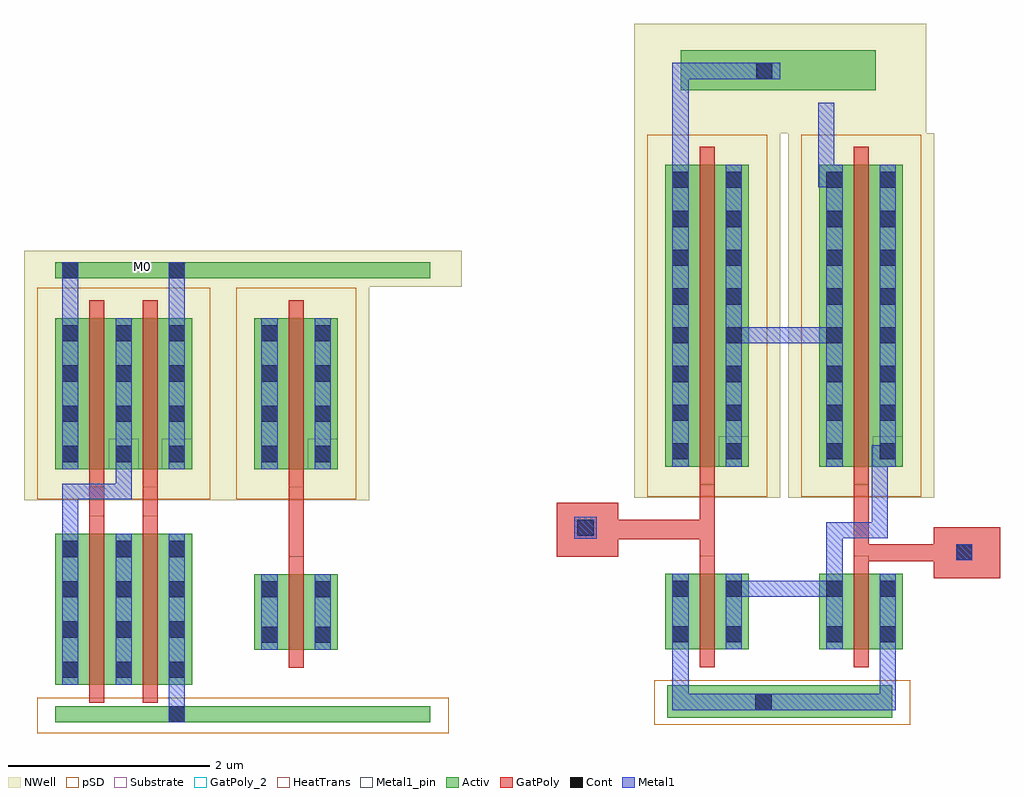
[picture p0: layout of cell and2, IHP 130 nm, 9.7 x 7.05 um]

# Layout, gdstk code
import gdstk
lib = gdstk.Library(unit=1e-6, precision=5e-09)
def R(c, l, rs):  # rectangles x0, y0, x1, y1
    for r in rs: c.add(gdstk.rectangle(r[:2], r[2:], *l))
def A(c, l, x, y, w, h, nx, ny, dx, dy):  # array of equal rectangles
    R(c, l, [(x+i*dx, y+j*dy, x+i*dx+w, y+j*dy+h) for i in range(nx) for j in range(ny)])
def P(c, l, *ps):  # polygons
    for p in ps: c.add(gdstk.Polygon(p, *l))
Activ = (1, 0)
GatPoly = (5, 0)
GatPoly_2 = (5, 2)
Cont = (6, 0)
Metal1 = (8, 0)
Metal1_pin = (8, 2)
pSD = (14, 0)
NWell = (31, 0)
Substrate = (40, 0)
HeatTrans = (51, 0)

pmos_1 = lib.new_cell('pmos$1')
R(pmos_1, Activ, [(0,0,0.3,0.3), (0,0,0.83,1.5), (0.53,0,0.83,0.3)])
R(pmos_1, GatPoly, [(0.34,-0.18,0.49,1.68), (0.34,-0.18,0.49,1.68)])
A(pmos_1, Cont, 0.07, 0.07, 0.16, 0.16, 1, 4, 0, 0.4)
A(pmos_1, Cont, 0.6, 0.07, 0.16, 0.16, 1, 4, 0, 0.4)
R(pmos_1, Metal1, [(0.07,0,0.23,1.5), (0.07,0,0.23,1.5), (0.6,0,0.76,1.5), (0.6,0,0.76,1.5)])
R(pmos_1, pSD, [(-0.18,-0.3,1.01,1.8)])
R(pmos_1, NWell, [(-0.31,-0.31,1.14,1.81)])
R(pmos_1, Substrate, [(0.53,0,0.83,0.3)])
R(pmos_1, HeatTrans, [(0.34,-0.18,0.49,1.68)])
pmos_1.add(gdstk.Label('pmos', (0.415,0.75), layer=63, texttype=0))
pmos_1.add(gdstk.Label('pmos', (0.415,0.75), layer=51, texttype=0))

nmos = lib.new_cell('nmos')
R(nmos, Activ, [(0,0,0.3,0.3), (0,0,0.83,1.5), (0.53,0,0.83,0.3)])
R(nmos, GatPoly, [(0.34,-0.18,0.49,1.68)])
R(nmos, GatPoly_2, [(0.34,-0.18,0.49,1.68)])
A(nmos, Cont, 0.07, 0.07, 0.16, 0.16, 1, 4, 0, 0.4)
A(nmos, Cont, 0.6, 0.07, 0.16, 0.16, 1, 4, 0, 0.4)
R(nmos, Metal1, [(0.07,0,0.23,1.5), (0.6,0,0.76,1.5)])
R(nmos, Metal1_pin, [(0.07,0,0.23,1.5), (0.6,0,0.76,1.5)])
R(nmos, HeatTrans, [(0.34,-0.18,0.49,1.68)])
nmos.add(gdstk.Label('nmos', (0.415,0.75), layer=63, texttype=0))
nmos.add(gdstk.Label('nmos', (0.415,0.75), layer=51, texttype=0))

nmos_1 = lib.new_cell('nmos$1')
R(nmos_1, Activ, [(0,0,0.3,0.3), (0,0,0.83,0.75), (0.53,0,0.83,0.3)])
R(nmos_1, GatPoly, [(0.34,-0.18,0.49,0.93)])
R(nmos_1, GatPoly_2, [(0.34,-0.18,0.49,0.93)])
R(nmos_1, Cont, [(0.07,0.07,0.23,0.23), (0.6,0.07,0.76,0.23), (0.07,0.52,0.23,0.68), (0.6,0.52,0.76,0.68)])
R(nmos_1, Metal1, [(0.07,0,0.23,0.75), (0.6,0,0.76,0.75)])
R(nmos_1, Metal1_pin, [(0.07,0,0.23,0.75), (0.6,0,0.76,0.75)])
R(nmos_1, HeatTrans, [(0.34,-0.18,0.49,0.93)])
nmos_1.add(gdstk.Label('nmos', (0.415,0.375), layer=63, texttype=0))
nmos_1.add(gdstk.Label('nmos', (0.415,0.375), layer=51, texttype=0))

nmos_2 = lib.new_cell('nmos$2')
R(nmos_2, Activ, [(0,0,0.3,0.3), (0,0,0.83,0.75), (0.53,0,0.83,0.3)])
R(nmos_2, GatPoly, [(0.34,-0.18,0.49,0.93)])
R(nmos_2, GatPoly_2, [(0.34,-0.18,0.49,0.93)])
R(nmos_2, Cont, [(0.07,0.07,0.23,0.23), (0.6,0.07,0.76,0.23), (0.07,0.52,0.23,0.68), (0.6,0.52,0.76,0.68)])
R(nmos_2, Metal1, [(0.07,0,0.23,0.75), (0.6,0,0.76,0.75)])
R(nmos_2, Metal1_pin, [(0.07,0,0.23,0.75), (0.6,0,0.76,0.75)])
R(nmos_2, HeatTrans, [(0.34,-0.18,0.49,0.93)])
nmos_2.add(gdstk.Label('nmos', (0.415,0.375), layer=63, texttype=0))
nmos_2.add(gdstk.Label('nmos', (0.415,0.375), layer=51, texttype=0))

pmos_1_1 = lib.new_cell('pmos$1$1')
R(pmos_1_1, Activ, [(0,0,0.3,0.3), (0,0,0.83,3), (0.53,0,0.83,0.3)])
R(pmos_1_1, GatPoly, [(0.34,-0.18,0.49,3.18), (0.34,-0.18,0.49,3.18)])
A(pmos_1_1, Cont, 0.07, 0.07, 0.16, 0.16, 1, 7, 0, 0.385)
A(pmos_1_1, Cont, 0.6, 0.07, 0.16, 0.16, 1, 7, 0, 0.385)
R(pmos_1_1, Cont, [(0.07,2.77,0.23,2.93), (0.6,2.77,0.76,2.93)])
R(pmos_1_1, Metal1, [(0.07,0,0.23,3), (0.07,0,0.23,3), (0.6,0,0.76,3), (0.6,0,0.76,3)])
R(pmos_1_1, pSD, [(-0.18,-0.3,1.01,3.3)])
R(pmos_1_1, NWell, [(-0.31,-0.31,1.14,3.31)])
R(pmos_1_1, Substrate, [(0.53,0,0.83,0.3)])
R(pmos_1_1, HeatTrans, [(0.34,-0.18,0.49,3.18)])
pmos_1_1.add(gdstk.Label('pmos', (0.415,1.5), layer=63, texttype=0))
pmos_1_1.add(gdstk.Label('pmos', (0.415,1.5), layer=51, texttype=0))

nor2 = lib.new_cell('nor2')
R(nor2, Activ, [(-2.29,-1.185,-0.055,-0.865), (-2.16,5.05,-0.22,5.445)])
R(nor2, GatPoly, [(0.355,0.2,1.015,0.705), (-0.44,0.37,0.355,0.54), (-3.39,0.415,-2.78,0.95), (-1.97,0.425,-1.82,1.13), (-0.44,0.425,-0.29,1.13), (-2.78,0.585,-1.82,0.78)])
P(nor2, GatPoly, [(-0.52,1.13),(-0.52,1.13),(-0.37,1.13),(-0.37,1.13)])
R(nor2, Cont, [(-1.415,-1.11,-1.255,-0.95), (0.58,0.38,0.74,0.54), (-3.185,0.62,-3.025,0.78), (-1.41,5.165,-1.25,5.325)])
R(nor2, Metal1, [(-2.24,-1.11,-2.08,-0.275), (-2.08,-1.11,-0.18,-0.95), (-1.415,-1.11,-1.255,-0.95), (-0.18,-1.11,-0.02,-0.285), (-1.71,0.015,-0.62,0.175), (-0.71,0.02,-0.55,0.755), (0.58,0.38,0.74,0.54), (-3.215,0.59,-2.995,0.81), (-0.71,0.595,-0.1,0.755), (-0.26,0.595,-0.1,1.52), (-1.71,2.535,-0.63,2.695), (-2.24,4.085,-2.08,4.945), (-0.79,4.085,-0.63,4.925), (-2.24,4.945,-2.08,5.325), (-2.24,5.16,-1.17,5.325), (-1.405,5.165,-1.25,5.325)])
R(nor2, Metal1_pin, [(-1.415,-1.11,-1.255,-0.95), (-1.71,0.02,-1.55,0.175), (0.58,0.38,0.74,0.54), (-3.215,0.59,-2.995,0.81), (-1.405,5.165,-1.25,5.325)])
R(nor2, pSD, [(-2.42,-1.255,0.125,-0.815)])
R(nor2, NWell, [(-2.62,4.62,0.28,5.71)])
nor2.add(gdstk.Reference(nmos_2, (-2.31,-0.505)))
nor2.add(gdstk.Reference(pmos_1_1, (-0.78,1.31)))
nor2.add(gdstk.Reference(pmos_1_1, (-2.31,1.31)))
nor2.add(gdstk.Reference(pmos_1_1, (-2.31,1.31)))
nor2.add(gdstk.Reference(nmos_2, (-0.78,-0.505)))
nor2.add(gdstk.Label('A', (-3.085,0.68), layer=8, texttype=2))
nor2.add(gdstk.Label('B', (0.66,0.46), layer=8, texttype=2))
nor2.add(gdstk.Label('VSS', (-1.39,-1.055), layer=8, texttype=2))
nor2.add(gdstk.Label('vdd', (-1.33,5.245), layer=8, texttype=2))
nor2.add(gdstk.Label('out', (-1.65,0.08), layer=8, texttype=2))

and2 = lib.new_cell('and2')
R(and2, Activ, [(-0.76,-1.23,2.97,-1.07), (-0.76,3.18,2.97,3.34)])
R(and2, GatPoly, [(1.56,0.42,1.71,1.105), (-0.42,0.82,-0.27,1.105), (0.11,0.82,0.26,1.105)])
R(and2, Cont, [(0.37,-1.23,0.53,-1.07), (-0.69,3.18,-0.53,3.34), (0.37,3.18,0.53,3.34)])
R(and2, Metal1, [(0.37,-1.23,0.53,-0.86), (-0.69,0.64,-0.53,1.14), (-0.69,0.985,0,1.14), (-0.16,0.985,0,1.355), (-0.69,2.785,-0.53,3.34), (0.37,2.785,0.53,3.34)])
R(and2, pSD, [(-0.94,-1.34,3.15,-0.99)])
R(and2, NWell, [(-1.07,3.095,3.28,3.455)])
and2.add(gdstk.Reference(pmos_1, (-0.76,1.285)))
and2.add(gdstk.Reference(nmos, (-0.76,-0.86)))
and2.add(gdstk.Reference(pmos_1, (1.22,1.285)))
and2.add(gdstk.Reference(pmos_1, (-0.23,1.285)))
and2.add(gdstk.Reference(nmos_1, (1.22,-0.51)))
and2.add(gdstk.Reference(nor2, (7.615,0)))
and2.add(gdstk.Reference(nmos, (-0.23,-0.86)))
and2.add(gdstk.Label('M0', (0.11,3.3), layer=63, texttype=0))

lib.write_gds('and2.gds')
